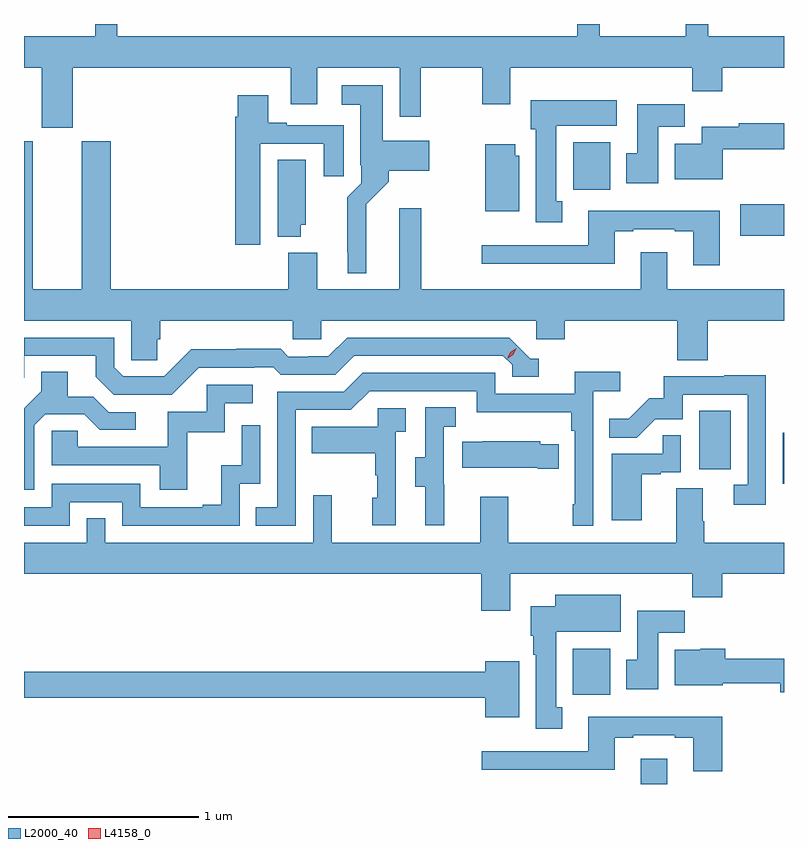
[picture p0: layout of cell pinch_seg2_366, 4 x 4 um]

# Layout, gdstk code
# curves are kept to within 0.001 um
import gdstk
lib = gdstk.Library(unit=1e-6, precision=1e-09)
def R(c, l, rs):  # rectangles x0, y0, x1, y1
    for r in rs: c.add(gdstk.rectangle(r[:2], r[2:], *l))
def P(c, l, *ps):  # polygons
    for p in ps: c.add(gdstk.Polygon(p, *l))
L2000_40 = (2000, 40)
L4158_0 = (4158, 0)

pinch_seg2_366 = lib.new_cell('pinch_seg2_366')
R(pinch_seg2_366, L2000_40, [(987.785,605.237,987.925,605.371), (987.428,605.708,987.625,605.95), (988.532,606.818,988.539,607.087), (988.094,606.894,988.258,607.201), (988.308,608.123,988.539,608.289), (987.429,608.364,987.625,608.614)])
P(pinch_seg2_366, L2000_40, [(988.139,609.237),(988.022,609.237),(988.022,609.172),(987.569,609.172),(987.569,609.237),(987.451,609.237),(987.451,609.172),(985.031,609.172),(985.031,609.237),(984.914,609.237),(984.914,609.172),(984.539,609.172),(984.539,609.008),(984.632,609.008),(984.632,608.691),(984.796,608.691),(984.796,609.008),(985.943,609.008),(985.943,608.814),(986.083,608.814),(986.083,609.008),(986.517,609.008),(986.517,608.748),(986.626,608.748),(986.626,609.008),(986.95,609.008),(986.95,608.814),(987.097,608.814),(987.097,609.008),(988.057,609.008),(988.057,608.884),(988.214,608.884),(988.214,609.008),(988.539,609.008),(988.539,609.172),(988.139,609.172)],
  [(986.341,608.288),(986.459,608.406),(986.459,608.465),(986.671,608.465),(986.671,608.623),(986.428,608.623),(986.428,608.914),(986.211,608.914),(986.211,608.813),(986.309,608.813),(986.309,608.494),(986.313,608.494),(986.313,608.4),(986.239,608.326),(986.239,608.035),(986.243,608.035),(986.243,607.925),(986.341,607.925)],
  [(985.783,608.607),(986.117,608.607),(986.117,608.436),(986.221,608.436),(986.221,608.703),(985.921,608.703),(985.921,608.716),(985.825,608.716),(985.825,608.863),(985.664,608.863),(985.664,608.75),(985.652,608.75),(985.652,608.076),(985.783,608.076)],
  [(987.373,608.305),(987.34,608.305),(987.34,608.702),(987.658,608.702),(987.658,608.836),(987.206,608.836),(987.206,608.682),(987.233,608.682),(987.233,608.193),(987.373,608.193)],
  [(987.877,608.696),(988.016,608.696),(988.016,608.815),(987.767,608.815),(987.767,608.556),(987.71,608.556),(987.71,608.4),(987.877,608.4)],
  [(988.216,608.578),(988.539,608.578),(988.539,608.715),(988.302,608.715),(988.302,608.695),(988.106,608.695),(988.106,608.608),(987.965,608.608),(987.965,608.42),(988.216,608.42)],
  [(985.241,607.578),(985.256,607.578),(985.256,607.676),(985.953,607.676),(985.953,607.578),(986.103,607.578),(986.103,607.676),(987.234,607.676),(987.234,607.578),(987.386,607.578),(987.386,607.676),(987.977,607.676),(987.977,607.468),(988.137,607.468),(988.137,607.676),(988.539,607.676),(988.539,607.84),(987.925,607.84),(987.925,608.035),(987.785,608.035),(987.785,607.84),(986.631,607.84),(986.631,608.266),(986.513,608.266),(986.513,607.84),(986.083,607.84),(986.083,608.032),(985.931,608.032),(985.931,607.84),(984.995,607.84),(984.995,608.619),(984.842,608.619),(984.842,607.84),(984.586,607.84),(984.586,608.619),(984.539,608.619),(984.539,607.676),(985.104,607.676),(985.104,607.468),(985.241,607.468)],
  [(987.145,608.544),(987.124,608.544),(987.124,608.605),(986.966,608.605),(986.966,608.252),(987.145,608.252)],
  [(985.996,608.181),(986.023,608.181),(986.023,608.522),(985.874,608.522),(985.874,608.117),(985.996,608.117)],
  [(988.201,608.254),(987.509,608.254),(987.509,608.073),(986.949,608.073),(986.949,607.976),(987.649,607.976),(987.649,608.145),(987.745,608.145),(987.745,608.157),(987.965,608.157),(987.965,608.145),(988.061,608.145),(988.061,607.968),(988.201,607.968)],
  [(985.458,607.428),(985.751,607.428),(985.751,607.431),(985.85,607.431),(985.889,607.392),(986.178,607.392),(986.277,607.491),(987.06,607.491),(987.108,607.443),(987.108,607.38),(987.247,607.38),(987.247,607.476),(987.204,607.476),(987.093,607.587),(986.24,607.587),(986.141,607.488),(986.034,607.488),(986.034,607.485),(985.931,607.485),(985.889,607.528),(985.656,607.528),(985.656,607.525),(985.42,607.525),(985.278,607.383),(985.062,607.383),(985.014,607.431),(985.014,607.587),(984.539,607.587),(984.539,607.376),(984.54,607.491),(984.917,607.491),(984.917,607.381),(985.011,607.287),(985.317,607.287)],
  [(984.594,607.125),(984.651,607.182),(984.857,607.182),(984.938,607.101),(985.126,607.101),(985.126,607.194),(984.984,607.194),(984.904,607.274),(984.769,607.274),(984.769,607.406),(984.629,607.406),(984.629,607.304),(984.539,607.214),(984.539,606.786),(984.594,606.786)],
  [(985.968,607.206),(986.259,607.206),(986.358,607.305),(986.922,607.305),(986.922,607.193),(987.418,607.193),(987.418,607.097),(987.438,607.097),(987.438,606.709),(987.426,606.709),(987.426,606.597),(987.534,606.597),(987.534,607.304),(987.676,607.304),(987.676,607.406),(987.437,607.406),(987.437,607.29),(987.018,607.29),(987.018,607.401),(986.321,607.401),(986.222,607.302),(985.872,607.302),(985.872,606.693),(985.759,606.693),(985.759,606.597),(985.968,606.597)],
  [(988.443,607.388),(988.225,607.388),(988.225,607.383),(987.907,607.383),(987.907,607.266),(987.83,607.266),(987.723,607.159),(987.619,607.159),(987.619,607.06),(987.763,607.06),(987.861,607.158),(988.005,607.158),(988.005,607.287),(988.347,607.287),(988.347,606.813),(988.275,606.813),(988.275,606.708),(988.443,606.708)],
  [(985.397,607.089),(985.596,607.089),(985.596,607.242),(985.744,607.242),(985.744,607.338),(985.5,607.338),(985.5,607.197),(985.295,607.197),(985.295,607.011),(984.821,607.011),(984.821,607.095),(984.684,607.095),(984.684,606.915),(985.253,606.915),(985.253,606.786),(985.397,606.786)],
  [(986.75,606.813),(986.748,606.813),(986.748,607.117),(986.812,607.117),(986.812,607.22),(986.652,607.22),(986.652,606.957),(986.597,606.957),(986.597,606.802),(986.651,606.802),(986.651,606.6),(986.75,606.6)],
  [(986.496,607.091),(986.548,607.091),(986.548,607.215),(986.4,607.215),(986.4,607.117),(986.053,607.117),(986.053,606.977),(986.388,606.977),(986.388,606.863),(986.398,606.863),(986.398,606.744),(986.372,606.744),(986.372,606.6),(986.496,606.6)],
  [(984.78,606.72),(985.056,606.72),(985.056,606.597),(985.674,606.597),(985.674,606.816),(985.782,606.816),(985.782,607.126),(985.686,607.126),(985.686,606.914),(985.577,606.914),(985.577,606.706),(985.481,606.706),(985.481,606.693),(985.152,606.693),(985.152,606.816),(984.684,606.816),(984.684,606.693),(984.539,606.693),(984.539,606.597),(984.78,606.597)],
  [(987.79,606.867),(987.89,606.867),(987.89,606.879),(987.996,606.879),(987.996,607.073),(987.901,607.073),(987.901,606.975),(987.632,606.975),(987.632,606.624),(987.79,606.624)],
  [(987.353,607.024),(987.255,607.024),(987.255,607.042),(986.953,607.042),(986.953,607.039),(986.845,607.039),(986.845,606.902),(987.242,606.902),(987.242,606.895),(987.353,606.895)],
  [(987.097,606.344),(988.057,606.344),(988.057,606.22),(988.214,606.22),(988.214,606.344),(988.539,606.344),(988.539,606.508),(988.119,606.508),(988.119,606.62),(988.111,606.62),(988.111,606.794),(987.971,606.794),(987.971,606.508),(987.087,606.508),(987.087,606.748),(986.939,606.748),(986.939,606.508),(986.159,606.508),(986.159,606.757),(986.061,606.757),(986.061,606.508),(984.966,606.508),(984.966,606.635),(984.87,606.635),(984.87,606.508),(984.539,606.508),(984.539,606.344),(986.945,606.344),(986.945,606.15),(987.097,606.15)],
  [(987.373,605.642),(987.34,605.642),(987.34,606.038),(987.679,606.038),(987.679,606.232),(987.335,606.232),(987.335,606.172),(987.206,606.172),(987.206,606.018),(987.218,606.018),(987.218,605.918),(987.233,605.918),(987.233,605.529),(987.373,605.529)],
  [(987.877,606.032),(988.016,606.032),(988.016,606.15),(987.767,606.15),(987.767,605.892),(987.71,605.892),(987.71,605.736),(987.877,605.736)],
  [(988.539,605.896),(988.229,605.896),(988.229,605.95),(988.098,605.95),(988.098,605.944),(987.965,605.944),(987.965,605.756),(988.216,605.756),(988.216,605.767),(988.52,605.767),(988.52,605.72),(988.539,605.72)],
  [(987.145,605.884),(986.966,605.884),(986.966,605.828),(984.539,605.828),(984.539,605.692),(986.966,605.692),(986.966,605.588),(987.145,605.588)],
  [(988.214,605.59),(987.509,605.59),(987.509,605.409),(986.949,605.409),(986.949,605.312),(987.649,605.312),(987.649,605.481),(987.745,605.481),(987.745,605.493),(987.965,605.493),(987.965,605.481),(988.061,605.481),(988.061,605.304),(988.214,605.304)])
P(pinch_seg2_366, L4158_0, [(987.083,607.477),(987.083,607.478),(987.099,607.51),(987.13,607.53),(987.13,607.53),(987.13,607.53),(987.114,607.497),(987.084,607.477)])

lib.write_gds('pinch_seg2_366.gds')
